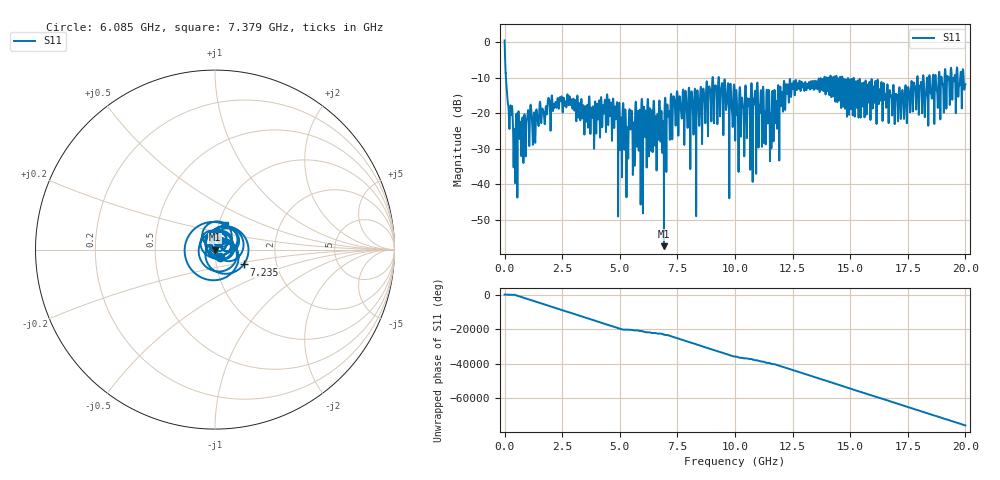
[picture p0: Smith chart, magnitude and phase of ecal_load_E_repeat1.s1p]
! MS46122B
! 2250307/22442219
! 7/27/2025 9:23:32 AM
! C:\USERS\SPARKY\DOCUMENTS\VNA_DATA\JULY27_2025\3K\ECAL_LOAD_E_REPEAT1.S1P
! CHANNEL.1
! TR.MEASUREMENT
! RAW.DATA
# GHZ S RI R 50.0
! FREQ.GHZ  S11RE  S11IM
!; PortSelection: Port_1
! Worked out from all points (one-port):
!   10001 points, 1 MHz to 20 GHz, reference 50 ohm
!   lowest |S11| = -57.3 dB at 6.917 GHz (marker M1), VSWR 1.00, Z = 49.9 - j0.0385 ohm
!   |S11| at or under -10 dB: 57.34 MHz to 9.026 GHz (8.969 GHz wide, 197 % of centre); 9.3 GHz to 13.88 GHz (4.579 GHz wide, 39.5 % of centre); 14.66 GHz to 17.91 GHz (3.249 GHz wide, 20 % of centre) (the widest 3 of 27)
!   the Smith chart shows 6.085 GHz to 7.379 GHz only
!   S11 on the Smith chart (normalised r, x): 6.085 GHz: 1.05, -0.09; 7.235 GHz: 1.36, -0.23; 7.379 GHz: 1.08, +0.30
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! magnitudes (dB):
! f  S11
! 1 MHz  0.4
! 145 MHz  -17.3
! 469 MHz  -34.5
! 1.073 GHz  -29.0
! 1.269 GHz  -20.4
! 2.501 GHz  -17.5
! 3.807 GHz  -21.1
! 4.529 GHz  -16.8
! 5.001 GHz  -20.5
! 6.085 GHz  -25.8
! 6.139 GHz  -20.0
! 6.917 GHz  -57.3
! 7.235 GHz  -14.9
! 7.379 GHz  -16.6
! 7.501 GHz  -14.3
! 8.389 GHz  -14.7
! 9.101 GHz  -18.2
! 10 GHz  -22.6
! 10.08 GHz  -17.2
! 10.53 GHz  -21.8
! 10.84 GHz  -16.9
! 10.9 GHz  -17.6
! 11.59 GHz  -21.1
! 11.7 GHz  -15.0
! 12.5 GHz  -13.1
! 15 GHz  -11.2
! 17.5 GHz  -13.3
! 20 GHz  -11.9
